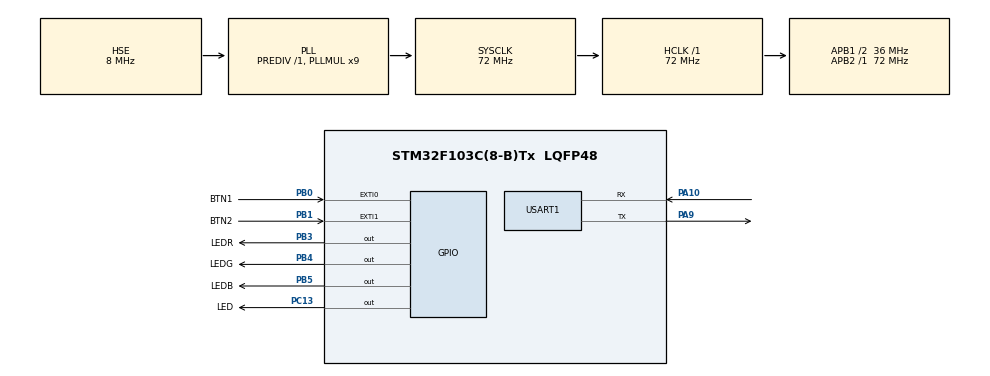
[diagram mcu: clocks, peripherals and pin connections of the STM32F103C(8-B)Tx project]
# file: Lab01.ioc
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Mcu.Family=STM32F1
Mcu.Name=STM32F103C(8-B)Tx
Mcu.Package=LQFP48
NVIC.EXTI0_IRQn=true\:0\:0\:false\:false\:true\:true\:true\:true
NVIC.EXTI1_IRQn=true\:0\:0\:false\:false\:true\:true\:true\:true
NVIC.PriorityGroup=NVIC_PRIORITYGROUP_4
NVIC.TIM2_IRQn=true\:0\:0\:false\:false\:true\:true\:true\:true
NVIC.TIM3_IRQn=true\:0\:0\:false\:false\:true\:true\:true\:true
NVIC.TIM4_IRQn=true\:0\:0\:false\:false\:true\:true\:true\:true
PA10.Mode=Asynchronous
PA10.Signal=USART1_RX
PA13.Mode=Serial_Wire
PA13.Signal=SYS_JTMS-SWDIO
PA14.Mode=Serial_Wire
PA14.Signal=SYS_JTCK-SWCLK
PA9.Mode=Asynchronous
PA9.Signal=USART1_TX
PB0.GPIO_Label=BTN1
PB0.GPIO_ModeDefaultEXTI=GPIO_MODE_IT_RISING_FALLING
PB0.Signal=GPXTI0
PB1.GPIO_Label=BTN2
PB1.GPIO_ModeDefaultEXTI=GPIO_MODE_IT_RISING_FALLING
PB1.Signal=GPXTI1
PB3.GPIO_Label=LEDR
PB3.GPIO_Speed=GPIO_SPEED_FREQ_LOW
PB3.PinState=GPIO_PIN_SET
PB3.Signal=GPIO_Output
PB4.GPIO_Label=LEDG
PB4.PinState=GPIO_PIN_SET
PB4.Signal=GPIO_Output
PB5.GPIO_Label=LEDB
PB5.PinState=GPIO_PIN_SET
PB5.Signal=GPIO_Output
PC13-TAMPER-RTC.GPIO_Label=LED
PC13-TAMPER-RTC.PinState=GPIO_PIN_SET
PC13-TAMPER-RTC.Signal=GPIO_Output
PD0-OSC_IN.Mode=HSE-External-Oscillator
PD0-OSC_IN.Signal=RCC_OSC_IN
PD1-OSC_OUT.Mode=HSE-External-Oscillator
PD1-OSC_OUT.Signal=RCC_OSC_OUT
ProjectManager.HeapSize=0x200
ProjectManager.StackSize=0x400
ProjectManager.TargetToolchain=STM32CubeIDE
RCC.AHBFreq_Value=72000000
RCC.APB1CLKDivider=RCC_HCLK_DIV2
RCC.APB1Freq_Value=36000000
RCC.APB1TimFreq_Value=72000000
RCC.APB2Freq_Value=72000000
RCC.APB2TimFreq_Value=72000000
RCC.HCLKFreq_Value=72000000
RCC.PLLMUL=RCC_PLL_MUL9
RCC.PLLSourceVirtual=RCC_PLLSOURCE_HSE
RCC.SYSCLKFreq_VALUE=72000000
RCC.SYSCLKSource=RCC_SYSCLKSOURCE_PLLCLK
RCC.USBFreq_Value=72000000
TIM2.Period=999
TIM2.Prescaler=7199
TIM3.Period=999
TIM3.Prescaler=7199
TIM4.Period=1999
TIM4.Prescaler=7199
USART1.VirtualMode=VM_ASYNC
VP_TIM2_VS_ClockSourceINT.Mode=Internal
VP_TIM3_VS_ClockSourceINT.Mode=Internal
VP_TIM4_VS_ClockSourceINT.Mode=Internal
board=custom

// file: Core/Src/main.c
/* USER CODE BEGIN Header */
/**
 ******************************************************************************
 * @file           : main.c
 * @brief          : Main program body
 ******************************************************************************
 * @attention
 *
 * Copyright (c) 2024 STMicroelectronics.
 * All rights reserved.
 *
 * This software is licensed under terms that can be found in the LICENSE file
 * in the root directory of this software component.
 * If no LICENSE file comes with this software, it is provided AS-IS.
 *
 ******************************************************************************
 */
/* USER CODE END Header */
#include "main.h"

/* USER CODE BEGIN Includes */
#include "stdio.h"
#include "Button_Handle.h"
/* USER CODE END Includes */

/* USER CODE BEGIN PD */
#define PRESS_TIME			500
#ifdef __GNUC__
/* With GCC/RAISONANCE, small printf (option LD Linker->Libraries->Small printf
 set to 'Yes') calls __io_putchar() */
#define PUTCHAR_PROTOTYPE int __io_putchar(int ch)
#else
 #define PUTCHAR_PROTOTYPE int fputc(int ch, FILE *f)
#endif /* __GNUC__ */

/* USER CODE END PD */

TIM_HandleTypeDef htim2;
TIM_HandleTypeDef htim3;
TIM_HandleTypeDef htim4;

UART_HandleTypeDef huart1;

/* USER CODE BEGIN PV */
Button_Handle_t btn1, btn2;
uint8_t LedCounter = 0;
uint8_t LedMode = 0;
uint8_t LedCounterMax = 20;
uint8_t counter = 0;
/* USER CODE END PV */

void SystemClock_Config(void);
static void MX_GPIO_Init(void);
static void MX_TIM2_Init(void);
static void MX_TIM4_Init(void);
static void MX_USART1_UART_Init(void);
static void MX_TIM3_Init(void);
/* USER CODE BEGIN PFP */
/**
 * @brief Retargets the C library printf function to the USART.
 * @param None
 * @retval None
 */
//PUTCHAR_PROTOTYPE {
//	/* Place your implementation of fputc here */
//	/* e.g. write a character to the USART */
//	HAL_GPIO_TogglePin(LED_GPIO_Port, LED_Pin);
//	HAL_UART_Transmit(&huart1, (uint8_t*) &ch, 1, 100);
//	return ch;
//}
void SendTimeCounter() {
	uint8_t UARTBuffer[30] = { 0 };
	sprintf(UARTBuffer, "\n%d00ms\n", LedCounterMax);
	HAL_UART_Transmit(&huart1, UARTBuffer, 30, 1000);

}
/* USER CODE END PFP */

int main(void) {

	/* MCU Configuration--------------------------------------------------------*/

	/* Reset of all peripherals, Initializes the Flash interface and the Systick. */
	HAL_Init();

	/* Configure the system clock */
	SystemClock_Config();

	/* Initialize all configured peripherals */
	MX_GPIO_Init();
	MX_TIM2_Init();
	MX_TIM4_Init();
	MX_USART1_UART_Init();
	MX_TIM3_Init();
	/* USER CODE BEGIN 2 */
	HAL_TIM_Base_Start_IT(&htim2);
	Button_Init(&btn1, BTN1_Pin, &htim3);
	Button_Init(&btn2, BTN2_Pin, &htim4);
//	HAL_TIM_Base_Start_IT(&htim4);
	/* USER CODE END 2 */

	/* Infinite loop */
	while (1) {

	}
}

void SystemClock_Config(void) {
	RCC_OscInitTypeDef RCC_OscInitStruct = { 0 };
	RCC_ClkInitTypeDef RCC_ClkInitStruct = { 0 };

	/** Initializes the RCC Oscillators according to the specified parameters
	 * in the RCC_OscInitTypeDef structure.
	 */
	RCC_OscInitStruct.OscillatorType = RCC_OSCILLATORTYPE_HSE;
	RCC_OscInitStruct.HSEState = RCC_HSE_ON;
	RCC_OscInitStruct.HSEPredivValue = RCC_HSE_PREDIV_DIV1;
	RCC_OscInitStruct.HSIState = RCC_HSI_ON;
	RCC_OscInitStruct.PLL.PLLState = RCC_PLL_ON;
	RCC_OscInitStruct.PLL.PLLSource = RCC_PLLSOURCE_HSE;
	RCC_OscInitStruct.PLL.PLLMUL = RCC_PLL_MUL9;
	if (HAL_RCC_OscConfig(&RCC_OscInitStruct) != HAL_OK) {
		Error_Handler();
	}

	/** Initializes the CPU, AHB and APB buses clocks
	 */
	RCC_ClkInitStruct.ClockType = RCC_CLOCKTYPE_HCLK | RCC_CLOCKTYPE_SYSCLK
			| RCC_CLOCKTYPE_PCLK1 | RCC_CLOCKTYPE_PCLK2;
	RCC_ClkInitStruct.SYSCLKSource = RCC_SYSCLKSOURCE_PLLCLK;
	RCC_ClkInitStruct.AHBCLKDivider = RCC_SYSCLK_DIV1;
	RCC_ClkInitStruct.APB1CLKDivider = RCC_HCLK_DIV2;
	RCC_ClkInitStruct.APB2CLKDivider = RCC_HCLK_DIV1;

	if (HAL_RCC_ClockConfig(&RCC_ClkInitStruct, FLASH_LATENCY_2) != HAL_OK) {
		Error_Handler();
	}
}

static void MX_TIM2_Init(void) {

	TIM_ClockConfigTypeDef sClockSourceConfig = { 0 };
	TIM_MasterConfigTypeDef sMasterConfig = { 0 };

	htim2.Instance = TIM2;
	htim2.Init.Prescaler = 7199;
	htim2.Init.CounterMode = TIM_COUNTERMODE_UP;
	htim2.Init.Period = 999;
	htim2.Init.ClockDivision = TIM_CLOCKDIVISION_DIV1;
	htim2.Init.AutoReloadPreload = TIM_AUTORELOAD_PRELOAD_DISABLE;
	if (HAL_TIM_Base_Init(&htim2) != HAL_OK) {
		Error_Handler();
	}
	sClockSourceConfig.ClockSource = TIM_CLOCKSOURCE_INTERNAL;
	if (HAL_TIM_ConfigClockSource(&htim2, &sClockSourceConfig) != HAL_OK) {
		Error_Handler();
	}
	sMasterConfig.MasterOutputTrigger = TIM_TRGO_RESET;
	sMasterConfig.MasterSlaveMode = TIM_MASTERSLAVEMODE_DISABLE;
	if (HAL_TIMEx_MasterConfigSynchronization(&htim2, &sMasterConfig)
			!= HAL_OK) {
		Error_Handler();
	}

}

static void MX_TIM3_Init(void) {

	TIM_ClockConfigTypeDef sClockSourceConfig = { 0 };
	TIM_MasterConfigTypeDef sMasterConfig = { 0 };

	htim3.Instance = TIM3;
	htim3.Init.Prescaler = 7199;
	htim3.Init.CounterMode = TIM_COUNTERMODE_UP;
	htim3.Init.Period = 999;
	htim3.Init.ClockDivision = TIM_CLOCKDIVISION_DIV1;
	htim3.Init.AutoReloadPreload = TIM_AUTORELOAD_PRELOAD_DISABLE;
	if (HAL_TIM_Base_Init(&htim3) != HAL_OK) {
		Error_Handler();
	}
	sClockSourceConfig.ClockSource = TIM_CLOCKSOURCE_INTERNAL;
	if (HAL_TIM_ConfigClockSource(&htim3, &sClockSourceConfig) != HAL_OK) {
		Error_Handler();
	}
	sMasterConfig.MasterOutputTrigger = TIM_TRGO_RESET;
	sMasterConfig.MasterSlaveMode = TIM_MASTERSLAVEMODE_DISABLE;
	if (HAL_TIMEx_MasterConfigSynchronization(&htim3, &sMasterConfig)
			!= HAL_OK) {
		Error_Handler();
	}

}

static void MX_TIM4_Init(void) {

	TIM_ClockConfigTypeDef sClockSourceConfig = { 0 };
	TIM_MasterConfigTypeDef sMasterConfig = { 0 };

	htim4.Instance = TIM4;
	htim4.Init.Prescaler = 7199;
	htim4.Init.CounterMode = TIM_COUNTERMODE_UP;
	htim4.Init.Period = 1999;
	htim4.Init.ClockDivision = TIM_CLOCKDIVISION_DIV1;
	htim4.Init.AutoReloadPreload = TIM_AUTORELOAD_PRELOAD_DISABLE;
	if (HAL_TIM_Base_Init(&htim4) != HAL_OK) {
		Error_Handler();
	}
	sClockSourceConfig.ClockSource = TIM_CLOCKSOURCE_INTERNAL;
	if (HAL_TIM_ConfigClockSource(&htim4, &sClockSourceConfig) != HAL_OK) {
		Error_Handler();
	}
	sMasterConfig.MasterOutputTrigger = TIM_TRGO_RESET;
	sMasterConfig.MasterSlaveMode = TIM_MASTERSLAVEMODE_DISABLE;
	if (HAL_TIMEx_MasterConfigSynchronization(&htim4, &sMasterConfig)
			!= HAL_OK) {
		Error_Handler();
	}

}

static void MX_USART1_UART_Init(void) {

	huart1.Instance = USART1;
	huart1.Init.BaudRate = 115200;
	huart1.Init.WordLength = UART_WORDLENGTH_8B;
	huart1.Init.StopBits = UART_STOPBITS_1;
	huart1.Init.Parity = UART_PARITY_NONE;
	huart1.Init.Mode = UART_MODE_TX_RX;
	huart1.Init.HwFlowCtl = UART_HWCONTROL_NONE;
	huart1.Init.OverSampling = UART_OVERSAMPLING_16;
	if (HAL_UART_Init(&huart1) != HAL_OK) {
		Error_Handler();
	}

}

static void MX_GPIO_Init(void) {
	GPIO_InitTypeDef GPIO_InitStruct = { 0 };

	/* GPIO Ports Clock Enable */
	__HAL_RCC_GPIOC_CLK_ENABLE();
	__HAL_RCC_GPIOD_CLK_ENABLE();
	__HAL_RCC_GPIOB_CLK_ENABLE();
	__HAL_RCC_GPIOA_CLK_ENABLE();

	/*Configure GPIO pin Output Level */
	HAL_GPIO_WritePin(LED_GPIO_Port, LED_Pin, GPIO_PIN_SET);

	/*Configure GPIO pin Output Level */
	HAL_GPIO_WritePin(GPIOB, LEDR_Pin | LEDG_Pin | LEDB_Pin, GPIO_PIN_SET);

	/*Configure GPIO pin : LED_Pin */
	GPIO_InitStruct.Pin = LED_Pin;
	GPIO_InitStruct.Mode = GPIO_MODE_OUTPUT_PP;
	GPIO_InitStruct.Pull = GPIO_NOPULL;
	GPIO_InitStruct.Speed = GPIO_SPEED_FREQ_LOW;
	HAL_GPIO_Init(LED_GPIO_Port, &GPIO_InitStruct);

	/*Configure GPIO pins : BTN1_Pin BTN2_Pin */
	GPIO_InitStruct.Pin = BTN1_Pin | BTN2_Pin;
	GPIO_InitStruct.Mode = GPIO_MODE_IT_RISING_FALLING;
	GPIO_InitStruct.Pull = GPIO_NOPULL;
	HAL_GPIO_Init(GPIOB, &GPIO_InitStruct);

	/*Configure GPIO pins : LEDR_Pin LEDG_Pin LEDB_Pin */
	GPIO_InitStruct.Pin = LEDR_Pin | LEDG_Pin | LEDB_Pin;
	GPIO_InitStruct.Mode = GPIO_MODE_OUTPUT_PP;
	GPIO_InitStruct.Pull = GPIO_NOPULL;
	GPIO_InitStruct.Speed = GPIO_SPEED_FREQ_LOW;
	HAL_GPIO_Init(GPIOB, &GPIO_InitStruct);

	/* EXTI interrupt init*/
	HAL_NVIC_SetPriority(EXTI0_IRQn, 0, 0);
	HAL_NVIC_EnableIRQ(EXTI0_IRQn);

	HAL_NVIC_SetPriority(EXTI1_IRQn, 0, 0);
	HAL_NVIC_EnableIRQ(EXTI1_IRQn);

}

/* USER CODE BEGIN 4 */
void HAL_GPIO_EXTI_Callback(uint16_t GPIO_Pin) {
	/* Prevent unused argument(s) compilation warning */
	UNUSED(GPIO_Pin);
	/* NOTE: This function Should not be modified, when the callback is needed,
	 the HAL_GPIO_EXTI_Callback could be implemented in the user file
	 */
	if (GPIO_Pin == btn1.pin) {
		btn1.state = HAL_GPIO_ReadPin(GPIOB, btn1.pin);
		if (btn1.state == PRESSED) {
			HAL_GPIO_TogglePin(LED_GPIO_Port, LED_Pin);
//			uint8_t UARTBuffer[30] = { 0 };
//			sprintf(UARTBuffer, "\nBTN1 Pressed\n");
//			HAL_UART_Transmit(&huart1, UARTBuffer, 30, 1000);
			Button_StartPressedCounter(&btn1);
		} else if (btn1.state == RELEASED) {
			if (btn1.lastState == PRESSED) {
				// inc/dec counter
				LedCounterMax--;
				if (LedCounterMax == 0)
					LedCounterMax = 20;
			} else if (btn1.lastState == LONGPRESSED) {
				Button_StopTimerCounter(&btn1);
			}
		}
		btn1.lastState = btn1.state;
	}
	if (GPIO_Pin == btn2.pin) {
		btn2.state = HAL_GPIO_ReadPin(GPIOB, btn2.pin);
		if (btn2.state == PRESSED) {
			HAL_GPIO_TogglePin(LED_GPIO_Port, LED_Pin);
//			uint8_t UARTBuffer[30] = { 0 };
//			sprintf(UARTBuffer, "\nBTN2 Pressed\n");
//			HAL_UART_Transmit(&huart1, UARTBuffer, 30, 1000);
			Button_StartPressedCounter(&btn2);
		} else if (btn2.state == RELEASED) {
			if (btn2.lastState == PRESSED) {
				// inc/dec counter
				LedMode++;
				if (LedMode >= 3)
					LedMode = 0;
			} else if (btn2.lastState == LONGPRESSED) {
				Button_StopTimerCounter(&btn2);
			}
		}
		btn2.lastState = btn2.state;
	}
}

void HAL_TIM_PeriodElapsedCallback(TIM_HandleTypeDef *htim) {
	if (htim->Instance == TIM2) {
		SendTimeCounter();
		LedCounter++;
		if (LedMode == 0) {
			if (LedCounter <= LedCounterMax / 3) {
				HAL_GPIO_WritePin(LEDR_GPIO_Port, LEDR_Pin, GPIO_PIN_RESET);
				HAL_GPIO_WritePin(LEDG_GPIO_Port, LEDG_Pin, GPIO_PIN_SET);
				HAL_GPIO_WritePin(LEDB_GPIO_Port, LEDB_Pin, GPIO_PIN_SET);
			} else if(LedCounter <= LedCounterMax * 2 / 3){
				HAL_GPIO_WritePin(LEDR_GPIO_Port, LEDR_Pin, GPIO_PIN_SET);
				HAL_GPIO_WritePin(LEDG_GPIO_Port, LEDG_Pin, GPIO_PIN_RESET);
				HAL_GPIO_WritePin(LEDB_GPIO_Port, LEDB_Pin, GPIO_PIN_SET);
			} else {
				HAL_GPIO_WritePin(LEDR_GPIO_Port, LEDR_Pin, GPIO_PIN_SET);
				HAL_GPIO_WritePin(LEDG_GPIO_Port, LEDG_Pin, GPIO_PIN_SET);
				HAL_GPIO_WritePin(LEDB_GPIO_Port, LEDB_Pin, GPIO_PIN_RESET);
			}
		} else if (LedMode == 1) {
			if (LedCounter <= LedCounterMax / 5) {
				HAL_GPIO_WritePin(LEDR_GPIO_Port, LEDR_Pin, GPIO_PIN_RESET);
				HAL_GPIO_WritePin(LEDG_GPIO_Port, LEDG_Pin, GPIO_PIN_SET);
				HAL_GPIO_WritePin(LEDB_GPIO_Port, LEDB_Pin, GPIO_PIN_SET);
			} else if(LedCounter <= LedCounterMax * 2 / 5){
				HAL_GPIO_WritePin(LEDR_GPIO_Port, LEDR_Pin, GPIO_PIN_SET);
				HAL_GPIO_WritePin(LEDG_GPIO_Port, LEDG_Pin, GPIO_PIN_RESET);
				HAL_GPIO_WritePin(LEDB_GPIO_Port, LEDB_Pin, GPIO_PIN_SET);
			} else if(LedCounter <= LedCounterMax * 3 / 5){
				HAL_GPIO_WritePin(LEDR_GPIO_Port, LEDR_Pin, GPIO_PIN_SET);
				HAL_GPIO_WritePin(LEDG_GPIO_Port, LEDG_Pin, GPIO_PIN_SET);
				HAL_GPIO_WritePin(LEDB_GPIO_Port, LEDB_Pin, GPIO_PIN_RESET);
 		} else if(LedCounter <= LedCounterMax * 4 / 5){
				HAL_GPIO_WritePin(LEDR_GPIO_Port, LEDR_Pin, GPIO_PIN_SET);
				HAL_GPIO_WritePin(LEDG_GPIO_Port, LEDG_Pin, GPIO_PIN_RESET);
				HAL_GPIO_WritePin(LEDB_GPIO_Port, LEDB_Pin, GPIO_PIN_SET);

                  } else {
				HAL_GPIO_WritePin(LEDR_GPIO_Port, LEDR_Pin, GPIO_PIN_RESET);
				HAL_GPIO_WritePin(LEDG_GPIO_Port, LEDG_Pin, GPIO_PIN_SET);
				HAL_GPIO_WritePin(LEDB_GPIO_Port, LEDB_Pin, GPIO_PIN_SET);
			}
		} else if (LedMode == 2) {
			if (LedCounter <= LedCounterMax / 2) {
				HAL_GPIO_WritePin(LEDR_GPIO_Port, LEDR_Pin, GPIO_PIN_RESET);
				HAL_GPIO_WritePin(LEDG_GPIO_Port, LEDG_Pin, GPIO_PIN_SET);
				HAL_GPIO_WritePin(LEDB_GPIO_Port, LEDB_Pin, GPIO_PIN_RESET);
			} else {
				HAL_GPIO_WritePin(LEDR_GPIO_Port, LEDR_Pin, GPIO_PIN_SET);
				HAL_GPIO_WritePin(LEDG_GPIO_Port, LEDG_Pin, GPIO_PIN_RESET);
				HAL_GPIO_WritePin(LEDB_GPIO_Port, LEDB_Pin, GPIO_PIN_SET);
			}
		}
		if (LedCounter > LedCounterMax) {
			LedCounter = 0;
		}
	} else if (htim->Instance == btn1.htim->Instance) {
		if (btn1.lastState == PRESSED) {
			Button_StopTimerCounter(&btn1);
			btn1.state = LONGPRESSED;
			btn1.lastState = btn1.state;
			Button_StartTimer(&btn1);
		} else if (btn1.lastState == LONGPRESSED) {
			LedCounterMax--;
			if (LedCounterMax == 0)
				LedCounterMax = 20;
		}
	} else if (htim->Instance == btn2.htim->Instance) {
		if (btn2.lastState == PRESSED) {
			Button_StopTimerCounter(&btn2);
			btn2.state = LONGPRESSED;
			btn2.lastState = btn2.state;
			Button_StartTimer(&btn2);
		} else if (btn2.lastState == LONGPRESSED) {
			LedCounterMax++;
			if (LedCounterMax > 20)
				LedCounterMax = 1;
		}
	}

}
/* USER CODE END 4 */

void Error_Handler(void) {
	__disable_irq();
	while (1) {
	}
}
